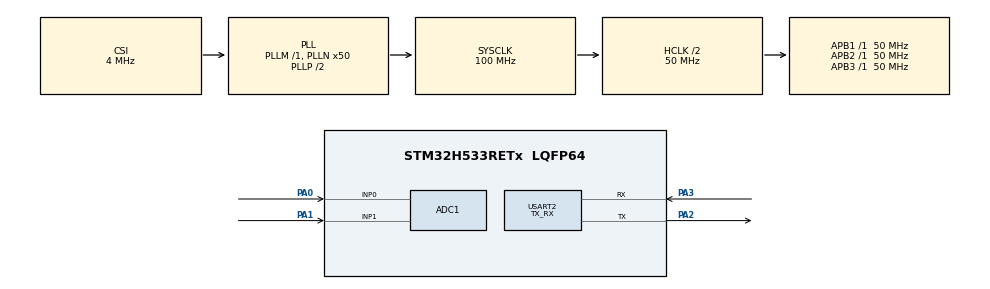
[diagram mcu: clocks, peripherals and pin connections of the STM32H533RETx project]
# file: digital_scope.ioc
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ADC1.Channel-4\#ChannelRegularConversion=ADC_CHANNEL_0
ADC1.Channel-5\#ChannelRegularConversion=ADC_CHANNEL_1
ADC1.ClockPrescaler=ADC_CLOCK_ASYNC_DIV2
ADC1.EnableInjectedConversion=DISABLE
ADC1.MonitoredBy-4\#ChannelRegularConversion=__NULL
ADC1.MonitoredBy-5\#ChannelRegularConversion=__NULL
ADC1.NbrOfConversion=2
ADC1.NbrOfConversionFlag=1
ADC1.OffsetNumber-4\#ChannelRegularConversion=ADC_OFFSET_NONE
ADC1.OffsetNumber-5\#ChannelRegularConversion=ADC_OFFSET_NONE
ADC1.OversamplingMode=DISABLE
ADC1.Rank-4\#ChannelRegularConversion=1
ADC1.Rank-5\#ChannelRegularConversion=2
ADC1.SamplingMode=ADC_SAMPLING_MODE_NORMAL
ADC1.SamplingTime-4\#ChannelRegularConversion=ADC_SAMPLETIME_640CYCLES_5
ADC1.SamplingTime-5\#ChannelRegularConversion=ADC_SAMPLETIME_640CYCLES_5
ADC1.master=1
BOOTPATH.BootPathName=LEGACY
BOOTPATH.UserSelectedBootPath=LEGACY
CORTEX_M33_NS.userName=CORTEX_M33
Mcu.Family=STM32H5
Mcu.Name=STM32H533RETx
Mcu.Package=LQFP64
NVIC.PriorityGroup=NVIC_PRIORITYGROUP_4
PA0.Signal=ADCx_INP0
PA1.Signal=ADCx_INP1
PA2.Mode=Asynchronous
PA2.Signal=USART2_TX
PA3.Mode=Asynchronous
PA3.Signal=USART2_RX
ProjectManager.HeapSize=0x200
ProjectManager.StackSize=0x400
ProjectManager.TargetToolchain=STM32CubeIDE
RCC.ADCFreq_Value=50000000
RCC.AHBCLKDivider=RCC_SYSCLK_DIV2
RCC.AHBFreq_Value=50000000
RCC.APB1Freq_Value=50000000
RCC.APB1TimFreq_Value=50000000
RCC.APB2Freq_Value=50000000
RCC.APB2TimFreq_Value=50000000
RCC.APB3Freq_Value=50000000
RCC.CSI_VALUE=4000000
RCC.CortexFreq_Value=50000000
RCC.EPOD_VALUE=4000000
RCC.HCLKFreq_Value=50000000
RCC.HSE_VALUE=25000000
RCC.HSI48_VALUE=48000000
RCC.HSI_VALUE=64000000
RCC.LSE_VALUE=32768
RCC.LSIRC_VALUE=32000
RCC.PLL2FRACN=0
RCC.PLL3FRACN=0
RCC.PLLFRACN=0
RCC.PLLN=50
RCC.SYSCLKFreq_VALUE=100000000
RCC.SYSCLKSource=RCC_SYSCLKSOURCE_PLLCLK
RCC.USBFreq_Value=48000000
RCC.VCOOutputFreq_Value=200000000
SH.ADCx_INP0.0=ADC1_INP0,IN0-Single-Ended
SH.ADCx_INP1.0=ADC1_INP1,IN1-Single-Ended
USART2.Mode=MODE_TX_RX
USART2.VirtualMode-Asynchronous=VM_ASYNC
VP_BOOTPATH_VS_BOOTPATH.Mode=BP_Activate
VP_CORTEX_M33_NS_VS_Hclk.Mode=Hclk_Mode
VP_MEMORYMAP_VS_MEMORYMAP.Mode=CurAppReg
VP_PWR_VS_LPOM.Mode=PowerOptimisation
VP_PWR_VS_SECSignals.Mode=Security/Privilege
board=custom

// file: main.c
/* USER CODE BEGIN Header */
/**
  ******************************************************************************
  * @file           : main.c
  * @brief          : Main program body
  ******************************************************************************
  * @attention
  *
  * Copyright (c) 2025 STMicroelectronics.
  * All rights reserved.
  *
  * This software is licensed under terms that can be found in the LICENSE file
  * in the root directory of this software component.
  * If no LICENSE file comes with this software, it is provided AS-IS.
  *
  ******************************************************************************
  */
/* USER CODE END Header */
#include "main.h"

/* USER CODE BEGIN Includes */
#include "string.h"
#include "stdio.h"
/* USER CODE END Includes */

ADC_HandleTypeDef hadc1;

UART_HandleTypeDef huart2;

/* USER CODE BEGIN PV */
ADC_ChannelConfTypeDef sConfig = {0};
uint16_t value1=0;
uint16_t value2=0;
uint16_t rawValues[2];

char msg[20];
/* USER CODE END PV */

void SystemClock_Config(void);
static void MX_GPIO_Init(void);
static void MX_ADC1_Init(void);
static void MX_USART2_UART_Init(void);

int main(void)
{

  /* MCU Configuration--------------------------------------------------------*/

  /* Reset of all peripherals, Initializes the Flash interface and the Systick. */
  HAL_Init();

  /* Configure the system clock */
  SystemClock_Config();

  /* Initialize all configured peripherals */
  MX_GPIO_Init();
  MX_ADC1_Init();
  MX_USART2_UART_Init();

  /* Infinite loop */
  while (1)
  {

    /* USER CODE BEGIN 3 */

	sConfig.Channel = ADC_CHANNEL_0;
	sConfig.Rank = 1;

	HAL_ADC_ConfigChannel(&hadc1, &sConfig);

	HAL_ADC_Start(&hadc1);
	HAL_ADC_PollForConversion(&hadc1, 20);
	value1 = HAL_ADC_GetValue(&hadc1);

	sConfig.Channel = ADC_CHANNEL_1;
	HAL_ADC_ConfigChannel(&hadc1, &sConfig);

	HAL_ADC_Start(&hadc1);
	HAL_ADC_PollForConversion(&hadc1, 20);
	value2 = HAL_ADC_GetValue(&hadc1);

	  sprintf(msg,"%hu#%hu\n",value1,value2);
	  HAL_UART_Transmit(&huart2,(uint8_t *) msg ,strlen(msg),HAL_MAX_DELAY);
	  HAL_Delay(0.01);

  }
  /* USER CODE END 3 */
}

void SystemClock_Config(void)
{
  RCC_OscInitTypeDef RCC_OscInitStruct = {0};
  RCC_ClkInitTypeDef RCC_ClkInitStruct = {0};

  /** Configure the main internal regulator output voltage
  */
  __HAL_PWR_VOLTAGESCALING_CONFIG(PWR_REGULATOR_VOLTAGE_SCALE3);

  while(!__HAL_PWR_GET_FLAG(PWR_FLAG_VOSRDY)) {}

  /** Initializes the RCC Oscillators according to the specified parameters
  * in the RCC_OscInitTypeDef structure.
  */
  RCC_OscInitStruct.OscillatorType = RCC_OSCILLATORTYPE_CSI;
  RCC_OscInitStruct.CSIState = RCC_CSI_ON;
  RCC_OscInitStruct.CSICalibrationValue = RCC_CSICALIBRATION_DEFAULT;
  RCC_OscInitStruct.PLL.PLLState = RCC_PLL_ON;
  RCC_OscInitStruct.PLL.PLLSource = RCC_PLL1_SOURCE_CSI;
  RCC_OscInitStruct.PLL.PLLM = 1;
  RCC_OscInitStruct.PLL.PLLN = 50;
  RCC_OscInitStruct.PLL.PLLP = 2;
  RCC_OscInitStruct.PLL.PLLQ = 2;
  RCC_OscInitStruct.PLL.PLLR = 2;
  RCC_OscInitStruct.PLL.PLLRGE = RCC_PLL1_VCIRANGE_2;
  RCC_OscInitStruct.PLL.PLLVCOSEL = RCC_PLL1_VCORANGE_WIDE;
  RCC_OscInitStruct.PLL.PLLFRACN = 0;
  if (HAL_RCC_OscConfig(&RCC_OscInitStruct) != HAL_OK)
  {
    Error_Handler();
  }

  /** Initializes the CPU, AHB and APB buses clocks
  */
  RCC_ClkInitStruct.ClockType = RCC_CLOCKTYPE_HCLK|RCC_CLOCKTYPE_SYSCLK
                              |RCC_CLOCKTYPE_PCLK1|RCC_CLOCKTYPE_PCLK2
                              |RCC_CLOCKTYPE_PCLK3;
  RCC_ClkInitStruct.SYSCLKSource = RCC_SYSCLKSOURCE_PLLCLK;
  RCC_ClkInitStruct.AHBCLKDivider = RCC_SYSCLK_DIV2;
  RCC_ClkInitStruct.APB1CLKDivider = RCC_HCLK_DIV1;
  RCC_ClkInitStruct.APB2CLKDivider = RCC_HCLK_DIV1;
  RCC_ClkInitStruct.APB3CLKDivider = RCC_HCLK_DIV1;

  if (HAL_RCC_ClockConfig(&RCC_ClkInitStruct, FLASH_LATENCY_4) != HAL_OK)
  {
    Error_Handler();
  }

  /** Configure the programming delay
  */
  __HAL_FLASH_SET_PROGRAM_DELAY(FLASH_PROGRAMMING_DELAY_2);
}

static void MX_ADC1_Init(void)
{

  ADC_ChannelConfTypeDef sConfig = {0};

  /** Common config
  */
  hadc1.Instance = ADC1;
  hadc1.Init.ClockPrescaler = ADC_CLOCK_ASYNC_DIV2;
  hadc1.Init.Resolution = ADC_RESOLUTION_12B;
  hadc1.Init.DataAlign = ADC_DATAALIGN_RIGHT;
  hadc1.Init.ScanConvMode = ADC_SCAN_ENABLE;
  hadc1.Init.EOCSelection = ADC_EOC_SINGLE_CONV;
  hadc1.Init.LowPowerAutoWait = DISABLE;
  hadc1.Init.ContinuousConvMode = DISABLE;
  hadc1.Init.NbrOfConversion = 2;
  hadc1.Init.DiscontinuousConvMode = DISABLE;
  hadc1.Init.ExternalTrigConv = ADC_SOFTWARE_START;
  hadc1.Init.ExternalTrigConvEdge = ADC_EXTERNALTRIGCONVEDGE_NONE;
  hadc1.Init.DMAContinuousRequests = DISABLE;
  hadc1.Init.SamplingMode = ADC_SAMPLING_MODE_NORMAL;
  hadc1.Init.Overrun = ADC_OVR_DATA_PRESERVED;
  hadc1.Init.OversamplingMode = DISABLE;
  if (HAL_ADC_Init(&hadc1) != HAL_OK)
  {
    Error_Handler();
  }

  /** Configure Regular Channel
  */
  sConfig.Channel = ADC_CHANNEL_0;
  sConfig.Rank = ADC_REGULAR_RANK_1;
  sConfig.SamplingTime = ADC_SAMPLETIME_640CYCLES_5;
  sConfig.SingleDiff = ADC_SINGLE_ENDED;
  sConfig.OffsetNumber = ADC_OFFSET_NONE;
  sConfig.Offset = 0;
  if (HAL_ADC_ConfigChannel(&hadc1, &sConfig) != HAL_OK)
  {
    Error_Handler();
  }

  /** Configure Regular Channel
  */
  sConfig.Channel = ADC_CHANNEL_1;
  sConfig.Rank = ADC_REGULAR_RANK_2;
  if (HAL_ADC_ConfigChannel(&hadc1, &sConfig) != HAL_OK)
  {
    Error_Handler();
  }

}

static void MX_USART2_UART_Init(void)
{

  huart2.Instance = USART2;
  huart2.Init.BaudRate = 115200;
  huart2.Init.WordLength = UART_WORDLENGTH_8B;
  huart2.Init.StopBits = UART_STOPBITS_1;
  huart2.Init.Parity = UART_PARITY_NONE;
  huart2.Init.Mode = UART_MODE_TX_RX;
  huart2.Init.HwFlowCtl = UART_HWCONTROL_NONE;
  huart2.Init.OverSampling = UART_OVERSAMPLING_16;
  huart2.Init.OneBitSampling = UART_ONE_BIT_SAMPLE_DISABLE;
  huart2.Init.ClockPrescaler = UART_PRESCALER_DIV1;
  huart2.AdvancedInit.AdvFeatureInit = UART_ADVFEATURE_NO_INIT;
  if (HAL_UART_Init(&huart2) != HAL_OK)
  {
    Error_Handler();
  }
  if (HAL_UARTEx_SetTxFifoThreshold(&huart2, UART_TXFIFO_THRESHOLD_1_8) != HAL_OK)
  {
    Error_Handler();
  }
  if (HAL_UARTEx_SetRxFifoThreshold(&huart2, UART_RXFIFO_THRESHOLD_1_8) != HAL_OK)
  {
    Error_Handler();
  }
  if (HAL_UARTEx_DisableFifoMode(&huart2) != HAL_OK)
  {
    Error_Handler();
  }

}

static void MX_GPIO_Init(void)
{

  /* GPIO Ports Clock Enable */
  __HAL_RCC_GPIOA_CLK_ENABLE();

}

void Error_Handler(void)
{
  __disable_irq();
  while (1)
  {
  }
}
